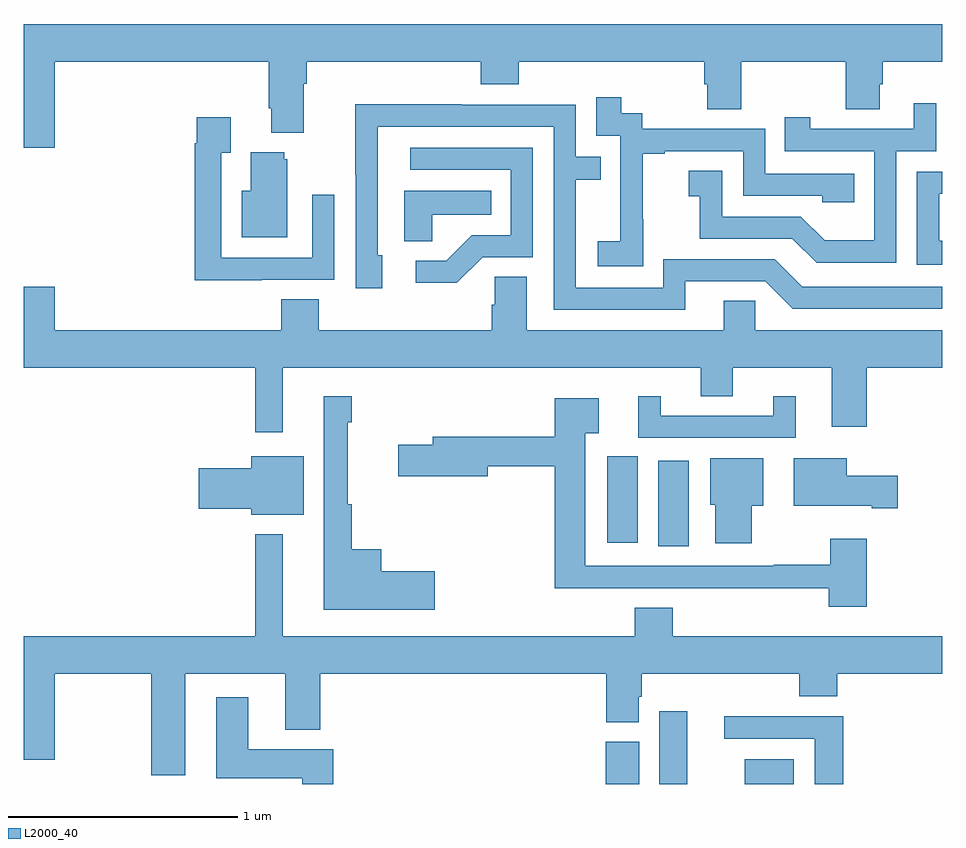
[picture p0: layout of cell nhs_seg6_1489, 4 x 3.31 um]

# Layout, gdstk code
import gdstk
lib = gdstk.Library(unit=1e-6, precision=1e-09)
def R(c, l, rs):  # rectangles x0, y0, x1, y1
    for r in rs: c.add(gdstk.rectangle(r[:2], r[2:], *l))
def P(c, l, *ps):  # polygons
    for p in ps: c.add(gdstk.Polygon(p, *l))
L2000_40 = (2000, 40)

nhs_seg6_1489 = lib.new_cell('nhs_seg6_1489')
R(nhs_seg6_1489, L2000_40, [(203.534,969.5,203.68,969.684), (203.768,969.5,203.89,969.817), (204.14,969.5,204.352,969.607), (203.762,970.534,203.896,970.906), (203.54,970.551,203.674,970.926)])
P(nhs_seg6_1489, L2000_40, [(201.136,972.644),(202.067,972.644),(202.067,972.442),(202.079,972.442),(202.079,972.335),(202.219,972.335),(202.219,972.548),(202.232,972.548),(202.232,972.644),(202.991,972.644),(202.991,972.545),(203.156,972.545),(203.156,972.644),(203.963,972.644),(203.963,972.546),(203.975,972.546),(203.975,972.436),(204.123,972.436),(204.123,972.644),(204.58,972.644),(204.58,972.436),(204.727,972.436),(204.727,972.546),(204.74,972.546),(204.74,972.644),(205,972.644),(205,972.808),(201,972.808),(201,972.27),(201.136,972.27)],
  [(203.697,971.959),(203.696,971.959),(203.696,972.243),(203.791,972.243),(203.791,972.255),(204.132,972.255),(204.132,972.06),(204.477,972.06),(204.477,972.033),(204.617,972.033),(204.617,972.156),(204.228,972.156),(204.228,972.351),(203.694,972.351),(203.694,972.42),(203.602,972.42),(203.602,972.49),(203.493,972.49),(203.493,972.321),(203.598,972.321),(203.598,972.092),(203.597,972.092),(203.597,971.863),(203.499,971.863),(203.499,971.753),(203.697,971.753)],
  [(204.798,972.255),(204.972,972.255),(204.972,972.463),(204.875,972.463),(204.875,972.351),(204.424,972.351),(204.424,972.403),(204.313,972.403),(204.313,972.255),(204.702,972.255),(204.702,971.866),(204.488,971.866),(204.384,971.97),(204.042,971.97),(204.042,972.169),(203.895,972.169),(203.895,972.059),(203.944,972.059),(203.944,971.874),(204.347,971.874),(204.452,971.769),(204.798,971.769)],
  [(203.881,971.688),(204.228,971.688),(204.348,971.568),(205,971.568),(205,971.664),(204.39,971.664),(204.27,971.784),(203.784,971.784),(203.784,971.661),(203.403,971.661),(203.403,972.13),(203.513,972.13),(203.513,972.231),(203.403,972.231),(203.403,972.456),(202.907,972.456),(202.907,972.458),(202.444,972.458),(202.444,972.151),(202.446,972.151),(202.446,971.658),(202.561,971.658),(202.561,971.802),(202.542,971.802),(202.542,972.36),(203.307,972.36),(203.307,971.565),(203.881,971.565)],
  [(202.037,971.694),(202.353,971.694),(202.353,972.064),(202.257,972.064),(202.257,971.79),(201.861,971.79),(201.861,972.247),(201.901,972.247),(201.901,972.403),(201.753,972.403),(201.753,972.29),(201.745,972.29),(201.745,971.693),(202.037,971.693)],
  [(202.998,971.793),(203.217,971.793),(203.217,972.27),(202.683,972.27),(202.683,972.174),(203.121,972.174),(203.121,971.889),(202.952,971.889),(202.841,971.778),(202.707,971.778),(202.707,971.681),(202.885,971.681)],
  [(202.147,972.219),(202.136,972.219),(202.136,972.25),(201.989,972.25),(201.989,972.082),(201.95,972.082),(201.95,971.879),(202.147,971.879)],
  [(205,971.865),(204.985,971.865),(204.985,972.069),(205,972.069),(205,972.165),(204.888,972.165),(204.888,971.76),(205,971.76)],
  [(202.779,971.978),(203.036,971.978),(203.036,972.082),(202.658,972.082),(202.658,971.863),(202.779,971.863)],
  [(202.129,971.312),(203.948,971.312),(203.948,971.188),(204.088,971.188),(204.088,971.312),(204.518,971.312),(204.518,971.055),(204.671,971.055),(204.671,971.312),(205,971.312),(205,971.476),(204.186,971.476),(204.186,971.603),(204.047,971.603),(204.047,971.476),(203.191,971.476),(203.191,971.708),(203.052,971.708),(203.052,971.585),(203.039,971.585),(203.039,971.476),(202.286,971.476),(202.286,971.609),(202.121,971.609),(202.121,971.476),(201.136,971.476),(201.136,971.665),(201,971.665),(201,971.312),(202.008,971.312),(202.008,971.031),(202.129,971.031)],
  [(204.361,971.188),(204.263,971.188),(204.263,971.103),(203.773,971.103),(203.773,971.188),(203.675,971.188),(203.675,971.007),(204.361,971.007)],
  [(202.789,970.425),(202.558,970.425),(202.558,970.522),(202.429,970.522),(202.429,970.718),(202.411,970.718),(202.411,971.075),(202.429,971.075),(202.429,971.188),(202.307,971.188),(202.307,970.259),(202.789,970.259)],
  [(204.671,970.567),(204.511,970.567),(204.511,970.454),(204.265,970.454),(204.265,970.449),(203.446,970.449),(203.446,971.027),(203.503,971.027),(203.503,971.179),(203.312,971.179),(203.312,971.011),(202.781,971.011),(202.781,970.977),(202.632,970.977),(202.632,970.84),(203.02,970.84),(203.02,970.882),(203.312,970.882),(203.312,970.352),(203.542,970.352),(203.542,970.353),(203.908,970.353),(203.908,970.352),(204.506,970.352),(204.506,970.272),(204.671,970.272)],
  [(202.219,970.927),(201.992,970.927),(201.992,970.875),(201.762,970.875),(201.762,970.697),(201.992,970.697),(201.992,970.673),(202.219,970.673)],
  [(204.169,970.712),(204.22,970.712),(204.22,970.918),(203.99,970.918),(203.99,970.716),(204.011,970.716),(204.011,970.548),(204.169,970.548)],
  [(204.805,970.842),(204.583,970.842),(204.583,970.918),(204.353,970.918),(204.353,970.712),(204.692,970.712),(204.692,970.7),(204.805,970.7)],
  [(203.825,970.268),(203.66,970.268),(203.66,970.144),(202.129,970.144),(202.129,970.588),(202.008,970.588),(202.008,970.144),(201,970.144),(201,969.606),(201.136,969.606),(201.136,969.98),(201.556,969.98),(201.556,969.539),(201.703,969.539),(201.703,969.98),(202.139,969.98),(202.139,969.737),(202.292,969.737),(202.292,969.98),(203.537,969.98),(203.537,969.769),(203.677,969.769),(203.677,969.879),(203.69,969.879),(203.69,969.98),(204.377,969.98),(204.377,969.881),(204.542,969.881),(204.542,969.98),(205,969.98),(205,970.144),(203.825,970.144)],
  [(202.349,969.652),(201.979,969.652),(201.979,969.877),(201.839,969.877),(201.839,969.524),(202.214,969.524),(202.214,969.5),(202.349,969.5)],
  [(204.569,969.794),(204.051,969.794),(204.051,969.696),(204.443,969.696),(204.443,969.5),(204.569,969.5)])

lib.write_gds('nhs_seg6_1489.gds')
